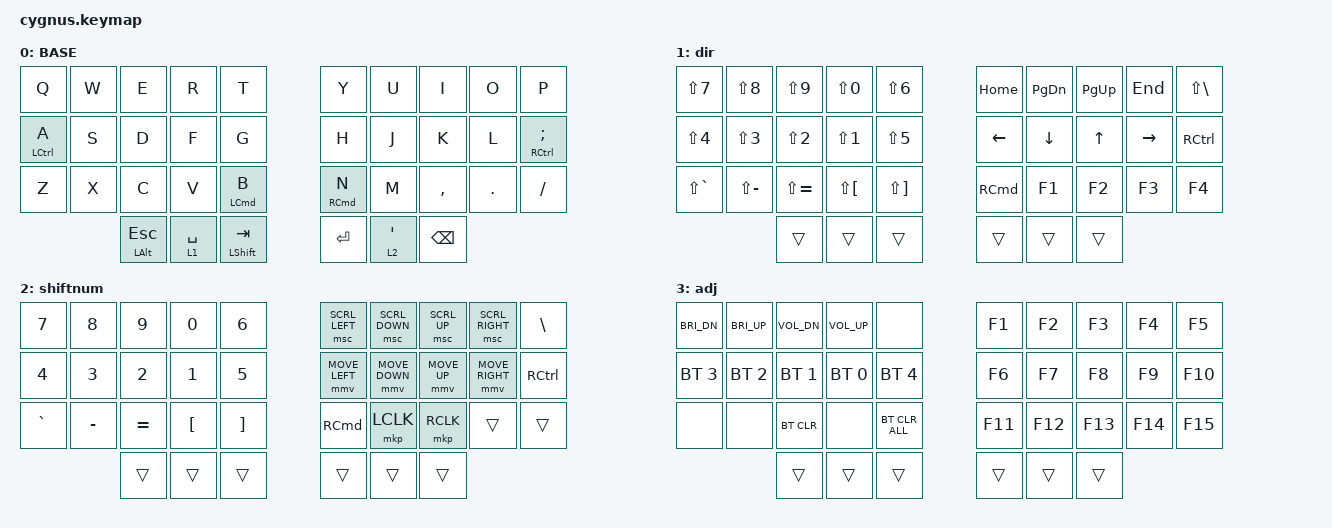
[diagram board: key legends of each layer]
// mostly copied from: https://github.com/infused-kim/zmk-config/tree/chocofi/main

#define ZMK_POINTING_DEFAULT_MOVE_VAL 700  // default: 600
#define ZMK_POINTING_DEFAULT_SCRL_VAL 70    // default: 10
#define QUICK_TAP 0
#define HM_TAPPING_TERM 300
#define HM_TAPPING_TERM_FAST 300
#define HM_PRIOR_IDLE 0
#define COMBO_TERM 200
#define COMBO_IDLE 0

#include "./keypos.h"
#include <behaviors.dtsi>
#include <dt-bindings/zmk/bt.h>
#include <dt-bindings/zmk/keys.h>
#include <dt-bindings/zmk/pointing.h>

&caps_word { continue-list = <UNDERSCORE BACKSPACE DELETE MINUS>; };

/ {
    behaviors {
        //////////////////////////////////////////////////////////////////
        // Positional Homerow mods
        // Homerow mods that prevent accidental activations when rolling keys,
        // such as when typing `st` or `ne` on colemak-dh layouts or `as` on
        // qwerty.
        //
        // Works by only allowing a mod to activate within tapping-term if
        // it's on the opposite side of the keyboard or on the same side thumb
        // keys.
        // Further optimization using urob's timerless homerow mods method:
        // https://github.com/urob/zmk-config#timeless-homerow-mods

        hm_l: homerow_mods_left {
            compatible = "zmk,behavior-hold-tap";
            #binding-cells = <2>;
            bindings = <&kp>, <&kp>;

            flavor = "balanced";
            tapping-term-ms = <HM_TAPPING_TERM>;
            quick-tap-ms = <QUICK_TAP>;                // repeat on tap-into-hold
            require-prior-idle-ms = <HM_PRIOR_IDLE>;
            hold-trigger-key-positions = <KEYS_R KEYS_T>;
            hold-trigger-on-release;
        };

        hm_r: homerow_mods_right {
            compatible = "zmk,behavior-hold-tap";
            #binding-cells = <2>;
            bindings = <&kp>, <&kp>;

            flavor = "balanced";
            tapping-term-ms = <HM_TAPPING_TERM>;
            quick-tap-ms = <QUICK_TAP>;
            require-prior-idle-ms = <HM_PRIOR_IDLE>;
            hold-trigger-key-positions = <KEYS_L KEYS_T>;
            hold-trigger-on-release;
        };

        // Positional Homerow mods for shift
        // Use faster tapping term and disable some features that may
        // cause false negatives.

        hm_shift_l: hm_shift_l {
            compatible = "zmk,behavior-hold-tap";
            #binding-cells = <2>;
            bindings = <&kp>, <&kp>;

            flavor = "balanced";
            tapping-term-ms = <HM_TAPPING_TERM_FAST>;
            quick-tap-ms = <QUICK_TAP>;
            require-prior-idle-ms = <HM_PRIOR_IDLE>;
            hold-trigger-key-positions = <KEYS_R KEYS_T>;
            hold-trigger-on-release;
        };

        hm_shift_r: hm_shift_r {
            compatible = "zmk,behavior-hold-tap";
            #binding-cells = <2>;
            bindings = <&kp>, <&kp>;

            flavor = "balanced";
            tapping-term-ms = <HM_TAPPING_TERM_FAST>;
            quick-tap-ms = <QUICK_TAP>;
            require-prior-idle-ms = <HM_PRIOR_IDLE>;
            hold-trigger-key-positions = <KEYS_L KEYS_T>;
            hold-trigger-on-release;
        };

        /////////////////////////////////////////////////////////////////////////////
        /*
        * Usage: &lt_balanced
        * Tap: key press
        * Hold: momentary layer
        */

        lt_balanced: lt_balanced {
            compatible = "zmk,behavior-hold-tap";
            #binding-cells = <2>;
            bindings = <&mo>, <&kp>;

            flavor = "balanced";
            tapping-term-ms = <HM_TAPPING_TERM>;
            quick-tap-ms = <QUICK_TAP>;
            require-prior-idle-ms = <HM_PRIOR_IDLE>;

            // hold-trigger-key-positions = <KEYS_L KEYS_T>;

            hold-trigger-on-release;
        };

        /*
        * Usage: &lt_capsword
        * Tap: caps_word
        * Hold: momentary layer
        */

        lt_capsword: lt_caps_word {
            compatible = "zmk,behavior-hold-tap";
            #binding-cells = <2>;
            bindings = <&mo>, <&caps_word>;

            flavor = "balanced";
            tapping-term-ms = <HM_TAPPING_TERM>;
            quick-tap-ms = <QUICK_TAP>;
            require-prior-idle-ms = <HM_PRIOR_IDLE>;

            // hold-trigger-key-positions = <KEYS_L KEYS_T>;

            hold-trigger-on-release;
        };

        /////////////////////////////////////////////////////////////////////////////
        // Swap the default and the shifted
        /*
        * Usage: &mm_tilde
        * Tap: tilde(~)
        * Shifted Tap: grave(`)
        */

        mm_tilde: tilde_grave {
            compatible = "zmk,behavior-mod-morph";
            #binding-cells = <0>;
            bindings = <&kp TILDE>, <&kp GRAVE>;

            mods = <(MOD_LSFT|MOD_RSFT)>;
        };

        /*
        * Usage: &mm_pipe
        * Tap: pipe(|)
        * Shifted Tap: backslash(\)
        */

        mm_pipe: pipe_backslash {
            compatible = "zmk,behavior-mod-morph";
            #binding-cells = <0>;
            bindings = <&kp PIPE>, <&kp BSLH>;

            mods = <(MOD_LSFT|MOD_RSFT)>;
        };
    };
};

/////////////////////////////////////////////////////////////////////////////
// generated by keymap editor

/ {
    combos {
        compatible = "zmk,combos";

        l3 {
            bindings = <&mo 3>;
            key-positions = <33 34 35>;
            layers = <0>;
        };
    };

    macros {
        undo: undo {
            compatible = "zmk,behavior-macro";
            #binding-cells = <0>;
            bindings =
                <&macro_press>,
                <&kp RCTRL>,
                <&macro_tap>,
                <&kp FSLH>,
                <&macro_release>,
                <&kp RCTRL>;

            label = "UNDO";
        };

        undo_redo: undo_redo {
            compatible = "zmk,behavior-macro";
            #binding-cells = <0>;
            bindings =
                <&macro_press>,
                <&kp RCTRL>,
                <&macro_tap>,
                <&kp QMARK>,
                <&macro_release>,
                <&kp RCTRL>;

            label = "UNDO_REDO";
        };

        close: close {
            compatible = "zmk,behavior-macro";
            #binding-cells = <0>;
            bindings =
                <&macro_press>,
                <&kp RALT>,
                <&macro_tap>,
                <&kp F4>,
                <&macro_release>,
                <&kp RALT>;

            label = "CLOSE";
        };
    };

    keymap {
        compatible = "zmk,keymap";

        base {
            label = "BASE";
            bindings = <
&kp Q                 &kp W  &kp E                &kp R                 &kp T               &kp Y         &kp U               &kp I          &kp O       &kp P
&hm_l LEFT_CONTROL A  &kp S  &kp D                &kp F                 &kp G               &kp H         &kp J               &kp K          &kp L       &hm_r RIGHT_CONTROL SEMICOLON
&kp Z                 &kp X  &kp C                &kp V                 &hm_l LCMD B        &hm_r RCMD N  &kp M               &kp COMMA      &kp PERIOD  &kp SLASH
                             &mt LEFT_ALT ESCAPE  &lt_balanced 1 SPACE  &mt LEFT_SHIFT TAB  &kp ENTER     &lt_balanced 2 SQT  &kp BACKSPACE
            >;
        };

        directions {
            label = "dir";
            bindings = <
&kp LS(N7)        &kp LS(N8)        &kp LS(N9)        &kp LS(N0)            &kp LS(NUMBER_6)       &kp HOME  &kp PAGE_DOWN   &kp PAGE_UP   &kp END    &kp LS(BACKSLASH)
&kp LS(NUMBER_4)  &kp LS(NUMBER_3)  &kp LS(NUMBER_2)  &kp LS(NUMBER_1)      &kp LS(N5)             &kp LEFT  &kp DOWN_ARROW  &kp UP_ARROW  &kp RIGHT  &kp RIGHT_CONTROL
&kp LS(GRAVE)     &kp LS(MINUS)     &kp LS(EQUAL)     &kp LS(LEFT_BRACKET)  &kp LS(RIGHT_BRACKET)  &kp RCMD  &kp F1          &kp F2        &kp F3     &kp F4
                                    &trans            &trans                &trans                 &trans    &trans          &trans
            >;
        };

        shiftnum {
            label = "shiftnum";
            bindings = <
&kp N7        &kp N8        &kp N9        &kp N0            &kp NUMBER_6       &msc SCRL_LEFT     &msc SCRL_DOWN  &msc SCRL_UP  &msc SCRL_RIGHT  &kp BACKSLASH
&kp NUMBER_4  &kp NUMBER_3  &kp NUMBER_2  &kp NUMBER_1      &kp N5             &mmv MOVE_LEFT     &mmv MOVE_DOWN  &mmv MOVE_UP  &mmv MOVE_RIGHT  &kp RIGHT_CONTROL
&kp GRAVE     &kp MINUS     &kp EQUAL     &kp LEFT_BRACKET  &kp RIGHT_BRACKET  &kp RIGHT_COMMAND  &mkp LCLK       &mkp RCLK     &trans           &trans
                            &trans        &trans            &trans             &trans             &trans          &trans
            >;
        };

        adjustment {
            label = "adj";
            bindings = <
&kp C_BRI_DN  &kp C_BRI_UP  &kp C_VOL_DN  &kp C_VOL_UP  &none           &kp F1   &kp F2   &kp F3   &kp F4   &kp F5
&bt BT_SEL 3  &bt BT_SEL 2  &bt BT_SEL 1  &bt BT_SEL 0  &bt BT_SEL 4    &kp F6   &kp F7   &kp F8   &kp F9   &kp F10
&none         &none         &bt BT_CLR    &none         &bt BT_CLR_ALL  &kp F11  &kp F12  &kp F13  &kp F14  &kp F15
                            &trans        &trans        &trans          &trans   &trans   &trans
            >;
        };
    };

    conditional_layers { compatible = "zmk,conditional-layers"; };
};
